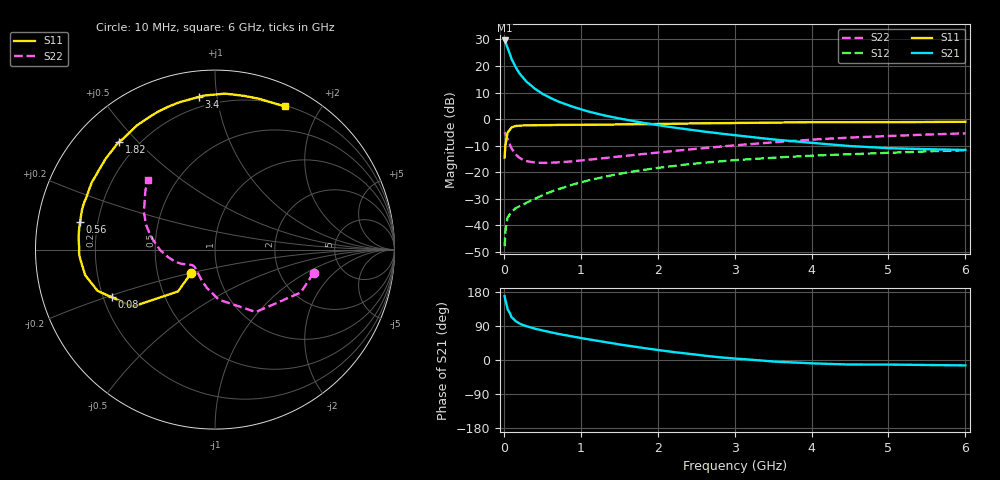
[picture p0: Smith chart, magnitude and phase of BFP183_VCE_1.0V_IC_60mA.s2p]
! Infineon Technologies  Discrete & RF Semiconductors
! BFP183
! VCE = 1.0 V,  IC =  60 mA
! Common Emitter S-Parameters:  Jan 2016
# GHz  S  MA  R  50
!  f  S11  S21  S12  S22
! GHz  MAG  ANG  MAG  ANG  MAG  ANG  MAG  ANG
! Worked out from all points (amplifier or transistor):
!   210 points, 10 MHz to 6 GHz, reference 50 ohm
!   highest |S21| = 29.6 dB at 10 MHz (marker M1)
!   |S21| within 3 dB of that: start of sweep to 52 MHz
!   unconditionally stable (mu >= 1): start of sweep to 43.64 MHz; 113 MHz to end of sweep
!   at 185 MHz: K = 1.24, MAG = 22.7 dB, |S12| = -33.2 dB
!   at 1.52 GHz: K = 1.99, MAG = 4.6 dB, |S12| = -20.6 dB
!   at 6 GHz: K = 1.58, MAG = -4.4 dB, |S12| = -11.8 dB
!   S11 on the Smith chart (normalised r, x): 10 MHz: 0.74, -0.20; 80 MHz: 0.23, -0.21; 560 MHz: 0.13, +0.10; 1.82 GHz: 0.13, +0.44; 3.4 GHz: 0.14, +0.89; 6 GHz: 0.21, +1.58
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0.01  0.1878 -135.4  30.33 168.4  0.004 59.0  0.5639 -13.2
0.02  0.3113 -131.5  28.96 157.4  0.0074 60.4  0.5349 -26.5
0.05  0.5575 -145.3  21.84 132.7  0.014 51.4  0.4153 -56.9
0.08  0.6338 -155.3  16.61 123.0  0.0162 44.3  0.3238 -71.3
0.1  0.6933 -160.6  13.55 112.6  0.0177 40.5  0.2802 -85.6
0.15  0.7368 -168.8  9.616 102.8  0.0207 40.2  0.2175 -102.2
0.2  0.7474 -174.0  7.345 96.6  0.0225 43.0  0.1871 -113.3
0.26  0.7578 -178.6  5.74 91.4  0.0247 45.3  0.1677 -122.3
0.3  0.757 179.2  4.973 88.6  0.0266 48.2  0.16 -127.3
0.4  0.7637 174.6  3.754 82.7  0.0312 52.3  0.1513 -134.6
0.5  0.7662 170.6  2.995 77.9  0.0362 54.7  0.1487 -139.4
0.56  0.7677 168.3  2.71 75.3  0.0396 56.3  0.1492 -141.4
0.7  0.7739 163.2  2.157 69.2  0.047 58.5  0.1521 -145.0
1.02  0.7788 153.5  1.496 57.3  0.0649 59.5  0.166 -149.7
1.3  0.7839 145.8  1.175 47.7  0.0807 58.3  0.1832 -153.1
1.82  0.8034 131.5  0.843 31.5  0.11 53.5  0.2194 -160.8
2.02  0.8079 126.2  0.756 25.9  0.1206 51.0  0.2342 -164.0
3.1  0.8456 101.8  0.477 2.5  0.1711 37.5  0.3271 175.4
3.4  0.8552 96.1  0.428 -2.2  0.1828 33.8  0.3545 170.1
4.1  0.8701 84.9  0.346 -9.4  0.2064 25.4  0.4166 158.3
5.1  0.8754 72.7  0.28 -12.2  0.2337 15.4  0.4842 143.8
6  0.8883 63.9  0.261 -14.3  0.2566 5.4  0.537 133.7
